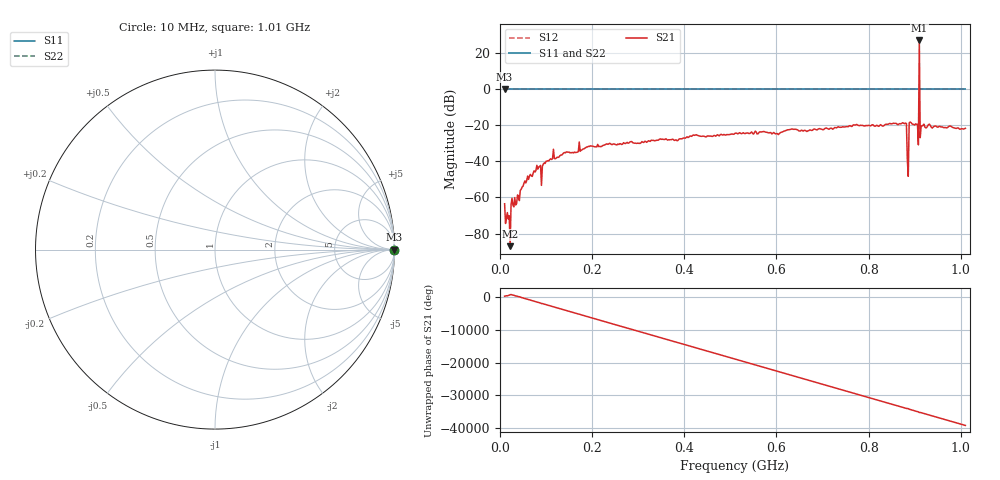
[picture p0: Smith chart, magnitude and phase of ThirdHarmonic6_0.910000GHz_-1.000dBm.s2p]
! 8/16/2025 5:47:48 AM
! C:\ANRITSUVNA\TEMP\TEMP.S2P
! CHANNEL.1
! TR.MEASUREMENT
! RAW.DATA
! RF.CORRECTION.OFF
! AVERAGING.OFF
! IF.BANDWIDTH: 5KHZ
! SWEEPTYPE:  FREQ.SWEEP(Linear)
! Reference Plane Port Info
! PORT:  PORT1  PORT2
! DISTANCE:  0  m  0  m
! TIME:  0  s  0  s
! PHASE.OFFSET:  0  deg.  0  deg.
! LOSS:  0  dB  0  dB
! REF.LOSS:  0  dB  0  dB
! REF.FREQ:  0  Hz  0  Hz
! Power Info
! POWER:  -20  dBm  -20  dBm
! EFF.POWER:  -20  dBm  -20  dBm
! SOURCE.ATTEN:  0  dB  0  dB
! TEST.ATTEN:  0  dB  0  dB
# GHZ S RI R 50.0
! FREQ.GHZ  S11RE  S11IM  S21RE  S21IM  S12RE  S12IM  S22RE  S22IM
!; PortSelection: Port_12
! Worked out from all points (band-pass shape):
!   501 points, 10 MHz to 1.01 GHz, reference 50 ohm
!   highest |S21| = 26.73 dB at 910 MHz (marker M1); lowest = -86.9 dB at 22 MHz (marker M2)
!   |S21| within 3 dB of the highest: 909.896 MHz to 910.1117 MHz (215.8 kHz wide, 0.0237 % of centre)
!   lowest |S11| = 0.0 dB at 10 MHz (marker M3)
!   |S11| at or under -10 dB: nowhere
!   |S22| runs from 0.0 to 0.0 dB; largest |S21 - S12| = 22
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0.01  1 0  -0.000621 0.000255  1 0  1 0
0.018  1 0  0.000235 9.27e-05  1 0  1 0
0.022  1 0  -2.73e-05 -3.61e-05  1 0  1 0
0.028  1 0  -0.000292 0.000544  1 0  1 0
0.038  1 0  -0.000729 0.000919  1 0  1 0
0.05  1 0  0.00193 -0.000699  1 0  1 0
0.084  1 0  0.00534 0.00453  1 0  1 0
0.178  1 0  -0.0201 -0.00459  1 0  1 0
0.344  1 0  0.037 -0.00975  1 0  1 0
0.51  1 0  -0.0504 0.0303  1 0  1 0
0.678  1 0  -0.0496 -0.052  1 0  1 0
0.844  1 0  0.1069 0.0126  1 0  1 0
0.878  1 0  0.0439 0.1002  1 0  1 0
0.882  1 0  -0.0132 -0.1096  1 0  1 0
0.888  1 0  0.1064 0.0458  1 0  1 0
0.892  1 0  -0.098 -0.0644  1 0  1 0
0.904  1 0  0.00256 0.1057  1 0  1 0
0.906  1 0  0.1042 0.0148  1 0  1 0
0.91  1 0  -5.165 21.07  1 0  1 0
0.914  1 0  0.0711 0.0624  1 0  1 0
0.916  1 0  0.0757 -0.0568  1 0  1 0
1.01  1 0  -0.0471 0.0663  1 0  1 0
